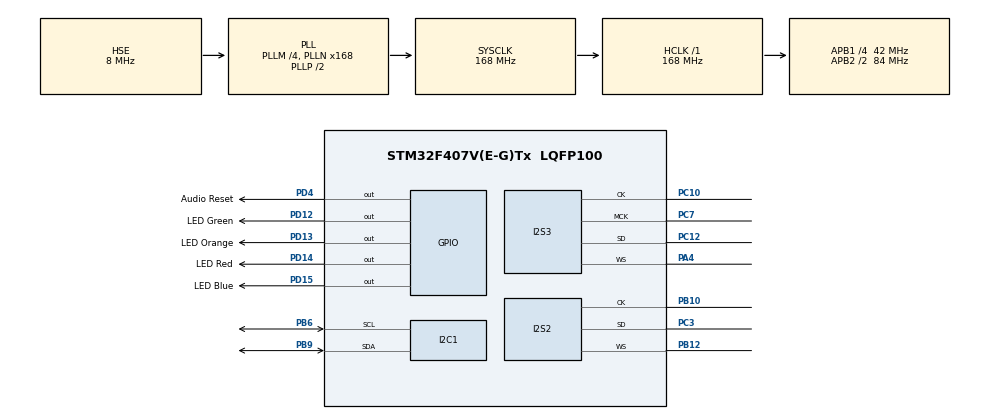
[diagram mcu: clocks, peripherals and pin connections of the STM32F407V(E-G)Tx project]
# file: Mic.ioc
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Dma.Request0=SPI3_TX
Dma.SPI3_TX.0.Direction=DMA_MEMORY_TO_PERIPH
Dma.SPI3_TX.0.FIFOMode=DMA_FIFOMODE_ENABLE
Dma.SPI3_TX.0.FIFOThreshold=DMA_FIFO_THRESHOLD_FULL
Dma.SPI3_TX.0.Instance=DMA1_Stream5
Dma.SPI3_TX.0.MemBurst=DMA_MBURST_SINGLE
Dma.SPI3_TX.0.MemDataAlignment=DMA_MDATAALIGN_HALFWORD
Dma.SPI3_TX.0.MemInc=DMA_MINC_ENABLE
Dma.SPI3_TX.0.Mode=DMA_CIRCULAR
Dma.SPI3_TX.0.PeriphBurst=DMA_PBURST_SINGLE
Dma.SPI3_TX.0.PeriphDataAlignment=DMA_PDATAALIGN_HALFWORD
Dma.SPI3_TX.0.PeriphInc=DMA_PINC_DISABLE
Dma.SPI3_TX.0.Priority=DMA_PRIORITY_LOW
I2S2.AudioFreq=I2S_AUDIOFREQ_16K
I2S2.ErrorAudioFreq=-0.35 %
I2S2.FullDuplexMode=I2S_FULLDUPLEXMODE_DISABLE
I2S2.Instance=SPI$Index
I2S2.Mode=I2S_MODE_MASTER_RX
I2S2.RealAudioFreq=15.943 KHz
I2S2.VirtualMode=I2S_MODE_MASTER
I2S3.AudioFreq=I2S_AUDIOFREQ_16K
I2S3.ErrorAudioFreq=1.72 %
I2S3.FullDuplexMode=I2S_FULLDUPLEXMODE_DISABLE
I2S3.Instance=SPI$Index
I2S3.RealAudioFreq=16.276 KHz
I2S3.VirtualMode=I2S_MODE_MASTER
Mcu.Family=STM32F4
Mcu.Name=STM32F407V(E-G)Tx
Mcu.Package=LQFP100
NVIC.DMA1_Stream5_IRQn=true\:0\:0\:false\:false\:true\:false
NVIC.PriorityGroup=NVIC_PRIORITYGROUP_0
PA4.Mode=Half_Duplex_Master
PA4.Signal=I2S3_WS
PB10.Mode=Half_Duplex_Master
PB10.Signal=I2S2_CK
PB12.Mode=Half_Duplex_Master
PB12.Signal=I2S2_WS
PB6.Mode=I2C
PB6.Signal=I2C1_SCL
PB9.Mode=I2C
PB9.Signal=I2C1_SDA
PC10.Mode=Half_Duplex_Master
PC10.Signal=I2S3_CK
PC12.Mode=Half_Duplex_Master
PC12.Signal=I2S3_SD
PC3.Mode=Half_Duplex_Master
PC3.Signal=I2S2_SD
PC7.Mode=Master_Clock_Activated
PC7.Signal=I2S3_MCK
PD12.GPIO_Label=LED Green
PD12.Signal=GPIO_Output
PD13.GPIO_Label=LED Orange
PD13.Signal=GPIO_Output
PD14.GPIO_Label=LED Red
PD14.Signal=GPIO_Output
PD15.GPIO_Label=LED Blue
PD15.Signal=GPIO_Output
PD4.GPIO_Label=Audio Reset
PD4.Signal=GPIO_Output
PH0-OSC_IN.Mode=HSE-External-Oscillator
PH0-OSC_IN.Signal=RCC_OSC_IN
PH1-OSC_OUT.Mode=HSE-External-Oscillator
PH1-OSC_OUT.Signal=RCC_OSC_OUT
ProjectManager.HeapSize=0x200
ProjectManager.StackSize=0x400
ProjectManager.TargetToolchain=SW4STM32
RCC.48MHZClocksFreq_Value=48000000
RCC.AHBFreq_Value=168000000
RCC.APB1CLKDivider=RCC_HCLK_DIV4
RCC.APB1Freq_Value=42000000
RCC.APB1TimFreq_Value=84000000
RCC.APB2CLKDivider=RCC_HCLK_DIV2
RCC.APB2Freq_Value=84000000
RCC.APB2TimFreq_Value=168000000
RCC.CortexFreq_Value=168000000
RCC.HCLKFreq_Value=168000000
RCC.HSE_VALUE=8000000
RCC.HSI_VALUE=16000000
RCC.LSE_VALUE=32768
RCC.PLLI2SN=50
RCC.PLLM=4
RCC.PLLN=168
RCC.PLLQ=7
RCC.PLLSourceVirtual=RCC_PLLSOURCE_HSE
RCC.SYSCLKFreq_VALUE=168000000
RCC.SYSCLKSource=RCC_SYSCLKSOURCE_PLLCLK
RCC.VCOOutputFreq_Value=336000000
board=STM32F4DISCOVERY

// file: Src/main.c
/* USER CODE BEGIN Header */
/**
  ******************************************************************************
  * @file           : main.c
  * @brief          : Main program body
  ******************************************************************************
  ** This notice applies to any and all portions of this file
  * that are not between comment pairs USER CODE BEGIN and
  * USER CODE END. Other portions of this file, whether
  * inserted by the user or by software development tools
  * are owned by their respective copyright owners.
  *
  * COPYRIGHT(c) 2019 STMicroelectronics
  *
  * Redistribution and use in source and binary forms, with or without modification,
  * are permitted provided that the following conditions are met:
  *   1. Redistributions of source code must retain the above copyright notice,
  *      this list of conditions and the following disclaimer.
  *   2. Redistributions in binary form must reproduce the above copyright notice,
  *      this list of conditions and the following disclaimer in the documentation
  *      and/or other materials provided with the distribution.
  *   3. Neither the name of STMicroelectronics nor the names of its contributors
  *      may be used to endorse or promote products derived from this software
  *      without specific prior written permission.
  *
  * THIS SOFTWARE IS PROVIDED BY THE COPYRIGHT HOLDERS AND CONTRIBUTORS "AS IS"
  * AND ANY EXPRESS OR IMPLIED WARRANTIES, INCLUDING, BUT NOT LIMITED TO, THE
  * IMPLIED WARRANTIES OF MERCHANTABILITY AND FITNESS FOR A PARTICULAR PURPOSE ARE
  * DISCLAIMED. IN NO EVENT SHALL THE COPYRIGHT HOLDER OR CONTRIBUTORS BE LIABLE
  * FOR ANY DIRECT, INDIRECT, INCIDENTAL, SPECIAL, EXEMPLARY, OR CONSEQUENTIAL
  * DAMAGES (INCLUDING, BUT NOT LIMITED TO, PROCUREMENT OF SUBSTITUTE GOODS OR
  * SERVICES; LOSS OF USE, DATA, OR PROFITS; OR BUSINESS INTERRUPTION) HOWEVER
  * CAUSED AND ON ANY THEORY OF LIABILITY, WHETHER IN CONTRACT, STRICT LIABILITY,
  * OR TORT (INCLUDING NEGLIGENCE OR OTHERWISE) ARISING IN ANY WAY OUT OF THE USE
  * OF THIS SOFTWARE, EVEN IF ADVISED OF THE POSSIBILITY OF SUCH DAMAGE.
  *
  ******************************************************************************
  */
/* USER CODE END Header */

#include "main.h"

/* USER CODE BEGIN Includes */
#include "MY_CS43L22.h"
#include "pdm_fir.h"
/* USER CODE END Includes */

I2C_HandleTypeDef hi2c1;

I2S_HandleTypeDef hi2s2;
I2S_HandleTypeDef hi2s3;
DMA_HandleTypeDef hdma_spi3_tx;

/* USER CODE BEGIN PV */

#define PDM_BUFFER_SIZE 64000
#define PCM_BUFFER_SIZE 64000

//int16_t PCM_buffer[PCM_BUFFER_SIZE];
//int16_t PCM_buffer_Filt[PCM_BUFFER_SIZE];

/* USER CODE END PV */

void SystemClock_Config(void);
static void MX_GPIO_Init(void);
static void MX_DMA_Init(void);
static void MX_I2C1_Init(void);
static void MX_I2S3_Init(void);
static void MX_I2S2_Init(void);

/* USER CODE BEGIN 0 */

struct pdm_fir_filter Filter;

/* USER CODE END 0 */

int main(void)
{
  /* USER CODE BEGIN 1 */
	uint16_t PDM_buffer[PDM_BUFFER_SIZE];

  /* USER CODE END 1 */

  /* MCU Configuration--------------------------------------------------------*/

  /* Reset of all peripherals, Initializes the Flash interface and the Systick. */
  HAL_Init();

  /* Configure the system clock */
  SystemClock_Config();

  /* Initialize all configured peripherals */
  MX_GPIO_Init();
  MX_DMA_Init();
  MX_I2C1_Init();
  MX_I2S3_Init();
  MX_I2S2_Init();
  /* USER CODE BEGIN 2 */
  CS43_Init(hi2c1, MODE_I2S);
  CS43_SetVolume(50); //0 - 100,, 40
  CS43_Enable_RightLeft(CS43_RIGHT);
  CS43_Start();

  /* Enable CRC module */
 // RCC->AHB1ENR |= RCC_AHB1ENR_CRCEN;
  pdm_fir_flt_init(&Filter);
  //HAL_I2S_Transmit_DMA(&hi2s3, (uint16_t *)PCM_buffer_Filt, PCM_BUFFER_SIZE);
  //HAL_I2S_Receive_DMA(&hi2s2, (uint16_t *)PDM_buffer, PCM_BUFFER_SIZE);

  /* USER CODE END 2 */

  /* Infinite loop */
  while (1)
  {

    /* USER CODE BEGIN 3 */

	  HAL_I2S_Receive(&hi2s2, PDM_buffer, PDM_BUFFER_SIZE, 1000);
	  for (int j=0; j<PDM_BUFFER_SIZE; j++)
	  {
	  pdm_fir_flt_put(&Filter, PDM_buffer[j]);//PDM_buffer[j]
	  PDM_buffer[j]=pdm_fir_flt_get(&Filter, 16);
	  }
	  //lowPassFrequency(&PCM_buffer, &PCM_buffer_Filt, 64000);
	 HAL_I2S_Transmit(&hi2s3, (uint16_t *)PDM_buffer, PCM_BUFFER_SIZE,1000);
	 HAL_Delay(1000);

  }
  /* USER CODE END 3 */
}

void SystemClock_Config(void)
{
  RCC_OscInitTypeDef RCC_OscInitStruct = {0};
  RCC_ClkInitTypeDef RCC_ClkInitStruct = {0};
  RCC_PeriphCLKInitTypeDef PeriphClkInitStruct = {0};

  /**Configure the main internal regulator output voltage
  */
  __HAL_RCC_PWR_CLK_ENABLE();
  __HAL_PWR_VOLTAGESCALING_CONFIG(PWR_REGULATOR_VOLTAGE_SCALE1);
  /**Initializes the CPU, AHB and APB busses clocks
  */
  RCC_OscInitStruct.OscillatorType = RCC_OSCILLATORTYPE_HSE;
  RCC_OscInitStruct.HSEState = RCC_HSE_ON;
  RCC_OscInitStruct.PLL.PLLState = RCC_PLL_ON;
  RCC_OscInitStruct.PLL.PLLSource = RCC_PLLSOURCE_HSE;
  RCC_OscInitStruct.PLL.PLLM = 4;
  RCC_OscInitStruct.PLL.PLLN = 168;
  RCC_OscInitStruct.PLL.PLLP = RCC_PLLP_DIV2;
  RCC_OscInitStruct.PLL.PLLQ = 7;
  if (HAL_RCC_OscConfig(&RCC_OscInitStruct) != HAL_OK)
  {
    Error_Handler();
  }
  /**Initializes the CPU, AHB and APB busses clocks
  */
  RCC_ClkInitStruct.ClockType = RCC_CLOCKTYPE_HCLK|RCC_CLOCKTYPE_SYSCLK
                              |RCC_CLOCKTYPE_PCLK1|RCC_CLOCKTYPE_PCLK2;
  RCC_ClkInitStruct.SYSCLKSource = RCC_SYSCLKSOURCE_PLLCLK;
  RCC_ClkInitStruct.AHBCLKDivider = RCC_SYSCLK_DIV1;
  RCC_ClkInitStruct.APB1CLKDivider = RCC_HCLK_DIV4;
  RCC_ClkInitStruct.APB2CLKDivider = RCC_HCLK_DIV2;

  if (HAL_RCC_ClockConfig(&RCC_ClkInitStruct, FLASH_LATENCY_5) != HAL_OK)
  {
    Error_Handler();
  }
  PeriphClkInitStruct.PeriphClockSelection = RCC_PERIPHCLK_I2S;
  PeriphClkInitStruct.PLLI2S.PLLI2SN = 50;
  PeriphClkInitStruct.PLLI2S.PLLI2SR = 2;
  if (HAL_RCCEx_PeriphCLKConfig(&PeriphClkInitStruct) != HAL_OK)
  {
    Error_Handler();
  }
}

static void MX_I2C1_Init(void)
{

  hi2c1.Instance = I2C1;
  hi2c1.Init.ClockSpeed = 100000;
  hi2c1.Init.DutyCycle = I2C_DUTYCYCLE_2;
  hi2c1.Init.OwnAddress1 = 0;
  hi2c1.Init.AddressingMode = I2C_ADDRESSINGMODE_7BIT;
  hi2c1.Init.DualAddressMode = I2C_DUALADDRESS_DISABLE;
  hi2c1.Init.OwnAddress2 = 0;
  hi2c1.Init.GeneralCallMode = I2C_GENERALCALL_DISABLE;
  hi2c1.Init.NoStretchMode = I2C_NOSTRETCH_DISABLE;
  if (HAL_I2C_Init(&hi2c1) != HAL_OK)
  {
    Error_Handler();
  }

}

static void MX_I2S2_Init(void)
{

  hi2s2.Instance = SPI2;
  hi2s2.Init.Mode = I2S_MODE_MASTER_RX;
  hi2s2.Init.Standard = I2S_STANDARD_PHILIPS;
  hi2s2.Init.DataFormat = I2S_DATAFORMAT_16B;
  hi2s2.Init.MCLKOutput = I2S_MCLKOUTPUT_DISABLE;
  hi2s2.Init.AudioFreq = I2S_AUDIOFREQ_16K;
  hi2s2.Init.CPOL = I2S_CPOL_LOW;
  hi2s2.Init.ClockSource = I2S_CLOCK_PLL;
  hi2s2.Init.FullDuplexMode = I2S_FULLDUPLEXMODE_DISABLE;
  if (HAL_I2S_Init(&hi2s2) != HAL_OK)
  {
    Error_Handler();
  }

}

static void MX_I2S3_Init(void)
{

  hi2s3.Instance = SPI3;
  hi2s3.Init.Mode = I2S_MODE_MASTER_TX;
  hi2s3.Init.Standard = I2S_STANDARD_PHILIPS;
  hi2s3.Init.DataFormat = I2S_DATAFORMAT_16B;
  hi2s3.Init.MCLKOutput = I2S_MCLKOUTPUT_ENABLE;
  hi2s3.Init.AudioFreq = I2S_AUDIOFREQ_16K;
  hi2s3.Init.CPOL = I2S_CPOL_LOW;
  hi2s3.Init.ClockSource = I2S_CLOCK_PLL;
  hi2s3.Init.FullDuplexMode = I2S_FULLDUPLEXMODE_DISABLE;
  if (HAL_I2S_Init(&hi2s3) != HAL_OK)
  {
    Error_Handler();
  }

}

static void MX_DMA_Init(void)
{
  /* DMA controller clock enable */
  __HAL_RCC_DMA1_CLK_ENABLE();

  /* DMA interrupt init */
  /* DMA1_Stream5_IRQn interrupt configuration */
  HAL_NVIC_SetPriority(DMA1_Stream5_IRQn, 0, 0);
  HAL_NVIC_EnableIRQ(DMA1_Stream5_IRQn);

}

static void MX_GPIO_Init(void)
{
  GPIO_InitTypeDef GPIO_InitStruct = {0};

  /* GPIO Ports Clock Enable */
  __HAL_RCC_GPIOH_CLK_ENABLE();
  __HAL_RCC_GPIOC_CLK_ENABLE();
  __HAL_RCC_GPIOA_CLK_ENABLE();
  __HAL_RCC_GPIOB_CLK_ENABLE();
  __HAL_RCC_GPIOD_CLK_ENABLE();

  /*Configure GPIO pin Output Level */
  HAL_GPIO_WritePin(GPIOD, LED_Green_Pin|LED_Orange_Pin|LED_Red_Pin|LED_Blue_Pin
                          |Audio_Reset_Pin, GPIO_PIN_RESET);

  /*Configure GPIO pins : LED_Green_Pin LED_Orange_Pin LED_Red_Pin LED_Blue_Pin
                           Audio_Reset_Pin */
  GPIO_InitStruct.Pin = LED_Green_Pin|LED_Orange_Pin|LED_Red_Pin|LED_Blue_Pin
                          |Audio_Reset_Pin;
  GPIO_InitStruct.Mode = GPIO_MODE_OUTPUT_PP;
  GPIO_InitStruct.Pull = GPIO_NOPULL;
  GPIO_InitStruct.Speed = GPIO_SPEED_FREQ_LOW;
  HAL_GPIO_Init(GPIOD, &GPIO_InitStruct);

}

void Error_Handler(void)
{
}

/************************ (C) COPYRIGHT STMicroelectronics *****END OF FILE****/
